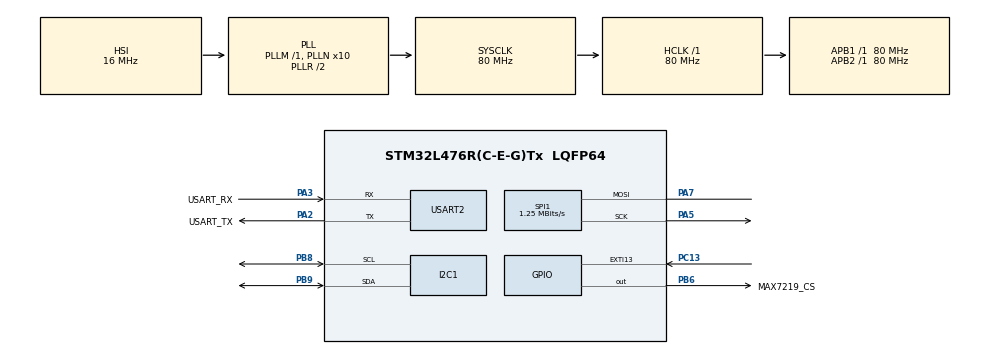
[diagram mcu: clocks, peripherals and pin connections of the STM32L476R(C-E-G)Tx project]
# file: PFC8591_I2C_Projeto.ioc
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I2C1.Timing=0x10D19CE4
Mcu.Family=STM32L4
Mcu.Name=STM32L476R(C-E-G)Tx
Mcu.Package=LQFP64
NUCLEO-L476RG.BUTTON=1
NUCLEO-L476RG.LD2=true
NVIC.EXTI15_10_IRQn=true\:0\:0\:false\:false\:true\:false\:true\:true
NVIC.I2C1_ER_IRQn=true\:0\:0\:false\:false\:true\:true\:true\:true
NVIC.I2C1_EV_IRQn=true\:0\:0\:false\:false\:true\:true\:true\:true
NVIC.PriorityGroup=NVIC_PRIORITYGROUP_4
NVIC.SPI1_IRQn=true\:1\:0\:true\:false\:true\:true\:true\:true
NVIC.USART2_IRQn=true\:0\:0\:false\:false\:true\:true\:true\:true
PA13\ (JTMS-SWDIO).GPIO_Label=TMS
PA13\ (JTMS-SWDIO).Mode=Serial_Wire
PA13\ (JTMS-SWDIO).Signal=SYS_JTMS-SWDIO
PA14\ (JTCK-SWCLK).GPIO_Label=TCK
PA14\ (JTCK-SWCLK).Mode=Serial_Wire
PA14\ (JTCK-SWCLK).Signal=SYS_JTCK-SWCLK
PA2.GPIO_Label=USART_TX
PA2.GPIO_Mode=GPIO_MODE_AF_PP
PA2.GPIO_PuPd=GPIO_NOPULL
PA2.GPIO_Speed=GPIO_SPEED_FREQ_VERY_HIGH
PA2.Mode=Asynchronous
PA2.Signal=USART2_TX
PA3.GPIO_Label=USART_RX
PA3.GPIO_Mode=GPIO_MODE_AF_PP
PA3.GPIO_PuPd=GPIO_NOPULL
PA3.GPIO_Speed=GPIO_SPEED_FREQ_VERY_HIGH
PA3.Mode=Asynchronous
PA3.Signal=USART2_RX
PA5.Mode=Simplex_Bidirectional_Master
PA5.Signal=SPI1_SCK
PA7.Mode=Simplex_Bidirectional_Master
PA7.Signal=SPI1_MOSI
PB3\ (JTDO-TRACESWO).GPIO_Label=SWO
PB3\ (JTDO-TRACESWO).Signal=SYS_JTDO-SWO
PB6.GPIO_Label=MAX7219_CS
PB6.GPIO_Speed=GPIO_SPEED_FREQ_HIGH
PB6.PinState=GPIO_PIN_SET
PB6.Signal=GPIO_Output
PB8.Mode=I2C
PB8.Signal=I2C1_SCL
PB9.Mode=I2C
PB9.Signal=I2C1_SDA
PC13.Signal=GPXTI13
PC14-OSC32_IN\ (PC14).Signal=RCC_OSC32_IN
PC15-OSC32_OUT\ (PC15).Signal=RCC_OSC32_OUT
PH0-OSC_IN\ (PH0).Signal=RCC_OSC_IN
PH1-OSC_OUT\ (PH1).Signal=RCC_OSC_OUT
ProjectManager.HeapSize=0x200
ProjectManager.StackSize=0x400
ProjectManager.TargetToolchain=STM32CubeIDE
RCC.ADCFreq_Value=64000000
RCC.AHBFreq_Value=80000000
RCC.APB1Freq_Value=80000000
RCC.APB1TimFreq_Value=80000000
RCC.APB2Freq_Value=80000000
RCC.APB2TimFreq_Value=80000000
RCC.CortexFreq_Value=80000000
RCC.HCLKFreq_Value=80000000
RCC.HSE_VALUE=8000000
RCC.HSI_VALUE=16000000
RCC.LSE_VALUE=32768
RCC.MSI_VALUE=4000000
RCC.PLLN=10
RCC.PLLSourceVirtual=RCC_PLLSOURCE_HSI
RCC.PREFETCH_ENABLE=1
RCC.SYSCLKFreq_VALUE=80000000
RCC.SYSCLKSource=RCC_SYSCLKSOURCE_PLLCLK
RCC.USBFreq_Value=64000000
RCC.VCOOutputFreq_Value=160000000
SPI1.BaudRatePrescaler=SPI_BAUDRATEPRESCALER_64
SPI1.CalculateBaudRate=1.25 MBits/s
SPI1.DataSize=SPI_DATASIZE_8BIT
SPI1.Direction=SPI_DIRECTION_1LINE
SPI1.Mode=SPI_MODE_MASTER
SPI1.NSSPMode=SPI_NSS_PULSE_DISABLE
SPI1.VirtualType=VM_MASTER
USART2.VirtualMode-Asynchronous=VM_ASYNC
VP_NUCLEO-L476RG_VS_BSP_COMMON.Mode=COMMON
board=NUCLEO-L476RG

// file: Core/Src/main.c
/* USER CODE BEGIN Header */
/**
  * @file           : main.c
  * @brief          : Main program body
  */
/* USER CODE END Header */
#include "main.h"

/* USER CODE BEGIN Includes */
#include <stdint.h>
#include <stdio.h>
#include <string.h>
/* USER CODE END Includes */

/* USER CODE BEGIN PTD */
typedef enum {
    I2C_IDLE,
    I2C_WAIT_TX,
    I2C_WAIT_RX,
    I2C_DONE,
    I2C_ERROR
} I2C_State;

typedef enum {
    I2C_OP_ADC,
    I2C_OP_DAC
} I2C_Operation;

typedef enum {
    SPI_IDLE,
    SPI_BUSY,
    SPI_ERROR
} SPI_State;

typedef enum {
    SPI_OP_NONE,
    SPI_OP_BOOT,
    SPI_OP_FRAME
} SPI_Operation;

typedef enum {
    DISPLAY_NONE,
    DISPLAY_L,
    DISPLAY_T,
    DISPLAY_V
} Display_Sensor;

typedef enum {
    DISPLAY_LETTER,
    DISPLAY_SIGN
} Display_Phase;

typedef enum {
    CMD_INVALID,
    CMD_READ_LDR,
    CMD_READ_TEMP,
    CMD_READ_VOLT,
    CMD_SET_DAC,
    CMD_LED_TEST,
    CMD_LED_CLEAR,
    CMD_HELP
} Command_Type;
/* USER CODE END PTD */

/* USER CODE BEGIN PD */
#define PCF8591_ADDR_HAL       (0x48U << 1)
#define UART_COMMAND_LEN       50U
#define DISPLAY_INTERVAL_MS    500U
#define SPI_TIMEOUT_MS         100U
#define MAX7219_BOOT_COMMANDS  14U
/* USER CODE END PD */

I2C_HandleTypeDef hi2c1;

SPI_HandleTypeDef hspi1;

UART_HandleTypeDef huart2;

/* USER CODE BEGIN PV */
static volatile I2C_State i2c_state = I2C_IDLE;
static volatile I2C_Operation i2c_operation = I2C_OP_ADC;
static volatile uint32_t i2c_error_code = 0;
static volatile uint32_t i2c_start_status = 0;
static uint8_t i2c_control = 0;
static uint8_t adc_buffer[2] = {0};
static uint8_t dac_buffer[2] = {0};
static uint8_t current_channel = 0;
static uint8_t dac_value = 128;
static uint8_t LDR = 0, Temp = 0, Pot = 0;

static uint8_t uart_rx_char = 0;
static char command_buffer[UART_COMMAND_LEN] = {0};
static volatile uint8_t command_index = 0;
static volatile uint8_t command_ready = 0;

static volatile SPI_State spi_state = SPI_IDLE;
static volatile SPI_Operation spi_operation = SPI_OP_NONE;
static volatile uint8_t spi_boot_index = 0;
static volatile uint8_t spi_frame_index = 0;
static volatile uint32_t spi_error_code = 0;
static uint32_t spi_start_tick = 0;
static uint8_t spi_error_reported = 0;
static uint8_t spi_frame_running = 0;
static uint8_t spi_frame_pending = 0;
static uint8_t spi_tx_buffer[2] = {0};
static uint8_t spi_frame_active[8] = {0};
static uint8_t spi_frame_requested[8] = {0};

static Display_Sensor display_sensor = DISPLAY_NONE;
static Display_Phase display_phase = DISPLAY_LETTER;
static uint8_t display_positive = 0;
static uint32_t display_last_tick = 0;

static const uint8_t GLYPH_L[8] = {
    0x60, 0x60, 0x60, 0x60, 0x60, 0x60, 0x7E, 0x00
};
static const uint8_t GLYPH_T[8] = {
    0x7E, 0x18, 0x18, 0x18, 0x18, 0x18, 0x18, 0x00
};
static const uint8_t GLYPH_V[8] = {
    0x66, 0x66, 0x66, 0x66, 0x66, 0x3C, 0x18, 0x00
};
static const uint8_t GLYPH_PLUS[8] = {
    0x00, 0x18, 0x18, 0x7E, 0x7E, 0x18, 0x18, 0x00
};
static const uint8_t GLYPH_MINUS[8] = {
    0x00, 0x00, 0x00, 0x7E, 0x7E, 0x00, 0x00, 0x00
};
static const uint8_t GLYPH_TEST[8] = {
    0xFF, 0xFF, 0xFF, 0xFF, 0xFF, 0xFF, 0xFF, 0xFF
};
static const uint8_t GLYPH_CLEAR[8] = {
    0, 0, 0, 0, 0, 0, 0, 0
};
/* USER CODE END PV */

void SystemClock_Config(void);
static void MX_GPIO_Init(void);
static void MX_I2C1_Init(void);
static void MX_USART2_UART_Init(void);
static void MX_SPI1_Init(void);
/* USER CODE BEGIN PFP */
static void UART_Send(const char *message);
static void UART_Start_Receive(void);
static Command_Type Parse_Command(const char *command);
static void Process_Command(const char *command);
static uint8_t Parse_DAC_Value(const char *text, uint8_t *value);
static void UART_Process(void);

static void PCF8591_StartRead(uint8_t channel);
static void PCF8591_StartWriteDAC(uint8_t value);
static void I2C_Process(void);

static void SPI_StartWord(uint8_t address, uint8_t value, SPI_Operation operation);
static void SPI_Process(void);
static void SPI_GetBootWord(uint8_t index, uint8_t *address, uint8_t *value);
static void SPI_QueueFrame(const uint8_t frame[8]);
static void Display_Publish(void);
static void Display_SetMeasurement(Display_Sensor sensor, uint8_t value);
static void Display_Process(void);
/* USER CODE END PFP */

/* USER CODE BEGIN 0 */
static void UART_Send(const char *message)
{

    (void)HAL_UART_Transmit(&huart2, (uint8_t *)message,
                            (uint16_t)strlen(message), 100U);
}

static void UART_Start_Receive(void)
{
    if (HAL_UART_Receive_IT(&huart2, &uart_rx_char, 1U) != HAL_OK) {
        Error_Handler();
    }
}

static Command_Type Parse_Command(const char *command)
{

    if (strcmp(command, "Read_AIN0") == 0 || strcmp(command, "LDR") == 0) {
        return CMD_READ_LDR;
    }
    if (strcmp(command, "Read_AIN1") == 0 || strcmp(command, "Temp") == 0) {
        return CMD_READ_TEMP;
    }
    if (strcmp(command, "Read_AIN3") == 0 || strcmp(command, "Volt") == 0) {
        return CMD_READ_VOLT;
    }
    if (strncmp(command, "Set_DAC_", 8U) == 0) {
        return CMD_SET_DAC;
    }
    if (strcmp(command, "LED_TEST") == 0) {
        return CMD_LED_TEST;
    }
    if (strcmp(command, "LED_CLEAR") == 0) {
        return CMD_LED_CLEAR;
    }
    if (strcmp(command, "HELP") == 0) {
        return CMD_HELP;
    }
    return CMD_INVALID;
}

static uint8_t Parse_DAC_Value(const char *text, uint8_t *value)
{
    uint16_t number = 0;

    if (*text == '\0') {
        return 0U;
    }

    while (*text != '\0') {
        if (*text < '0' || *text > '9') {
            return 0U;
        }
        number = (uint16_t)(number * 10U + (uint16_t)(*text - '0'));
        if (number > 255U) {
            return 0U;
        }
        ++text;
    }
    *value = (uint8_t)number;
    return 1U;
}

static void Process_Command(const char *command)
{
    uint8_t value = 0;

    switch (Parse_Command(command)) {
        case CMD_READ_LDR:
            PCF8591_StartRead(0U);
            break;

        case CMD_READ_TEMP:
            PCF8591_StartRead(1U);
            break;

        case CMD_READ_VOLT:
            PCF8591_StartRead(3U);
            break;

        case CMD_SET_DAC:
            if (Parse_DAC_Value(&command[8], &value) != 0U) {
                PCF8591_StartWriteDAC(value);
            } else {
                UART_Send("Valor DAC invalido! Use 0 a 255.\r\n");
            }
            break;

        case CMD_LED_TEST:
            display_sensor = DISPLAY_NONE;
            SPI_QueueFrame(GLYPH_TEST);
            UART_Send("LED_TEST: todos os LEDs ligados.\r\n");
            break;

        case CMD_LED_CLEAR:
            display_sensor = DISPLAY_NONE;
            SPI_QueueFrame(GLYPH_CLEAR);
            UART_Send("LED_CLEAR: matriz apagada.\r\n");
            break;

        case CMD_HELP:
            UART_Send("Read_AIN0 | Read_AIN1 | Read_AIN3 | Set_DAC_0..255\r\n"
                      "LDR | Temp | Volt | LED_TEST | LED_CLEAR | HELP\r\n");
            break;

        case CMD_INVALID:
        default:
            UART_Send("Comando invalido! Digite HELP.\r\n");
            break;
    }
}

void HAL_UART_RxCpltCallback(UART_HandleTypeDef *huart)
{
    if (huart->Instance != USART2) {
        return;
    }

    if (command_ready == 0U) {
        switch (uart_rx_char) {
            case '\r':
            case '\n':
                if (command_index > 0U) {
                    command_buffer[command_index] = '\0';
                    command_ready = 1U;
                }
                break;

            default:
                if (command_index < (UART_COMMAND_LEN - 1U)) {
                    command_buffer[command_index] = (char)uart_rx_char;
                    ++command_index;
                }
                break;
        }
    }

    (void)HAL_UART_Receive_IT(&huart2, &uart_rx_char, 1U);
}

static void UART_Process(void)
{
    char command[UART_COMMAND_LEN];

    if (command_ready == 0U || i2c_state != I2C_IDLE) {
        return;
    }

    __disable_irq();
    memcpy(command, command_buffer, UART_COMMAND_LEN);
    command_ready = 0U;
    command_index = 0U;
    __enable_irq();

    Process_Command(command);
}

static void PCF8591_StartRead(uint8_t channel)
{
    HAL_StatusTypeDef status;

    switch (channel) {
        case 0U:
        case 1U:
        case 3U:
            break;
        default:
            return;
    }

    if (i2c_state != I2C_IDLE) {
        return;
    }

    current_channel = channel;
    i2c_control = channel;
    i2c_operation = I2C_OP_ADC;
    i2c_error_code = 0U;
    i2c_start_status = 0U;
    i2c_state = I2C_WAIT_TX;

    status = HAL_I2C_Master_Transmit_IT(&hi2c1, PCF8591_ADDR_HAL,
                                         &i2c_control, 1U);
    if (status != HAL_OK) {
        i2c_start_status = (uint32_t)status;
        i2c_state = I2C_ERROR;
    }
}

static void PCF8591_StartWriteDAC(uint8_t value)
{
    HAL_StatusTypeDef status;

    if (i2c_state != I2C_IDLE) {
        return;
    }

    dac_value = value;
    dac_buffer[0] = 0x40U;
    dac_buffer[1] = value;
    i2c_operation = I2C_OP_DAC;
    i2c_error_code = 0U;
    i2c_start_status = 0U;
    i2c_state = I2C_WAIT_TX;

    status = HAL_I2C_Master_Transmit_IT(&hi2c1, PCF8591_ADDR_HAL,
                                         dac_buffer, 2U);
    if (status != HAL_OK) {
        i2c_start_status = (uint32_t)status;
        i2c_state = I2C_ERROR;
    }
}

void HAL_I2C_MasterTxCpltCallback(I2C_HandleTypeDef *hi2c)
{
    HAL_StatusTypeDef status;

    if (hi2c->Instance != I2C1 || i2c_state != I2C_WAIT_TX) {
        return;
    }

    switch (i2c_operation) {
        case I2C_OP_ADC:
            i2c_state = I2C_WAIT_RX;

            status = HAL_I2C_Master_Receive_IT(&hi2c1, PCF8591_ADDR_HAL,
                                                adc_buffer, 2U);
            if (status != HAL_OK) {
                i2c_start_status = (uint32_t)status;
                i2c_state = I2C_ERROR;
            }
            break;

        case I2C_OP_DAC:
            i2c_state = I2C_DONE;
            break;

        default:
            i2c_state = I2C_ERROR;
            break;
    }
}

void HAL_I2C_MasterRxCpltCallback(I2C_HandleTypeDef *hi2c)
{
    if (hi2c->Instance == I2C1 && i2c_state == I2C_WAIT_RX) {
        i2c_state = I2C_DONE;
    }
}

void HAL_I2C_ErrorCallback(I2C_HandleTypeDef *hi2c)
{
    if (hi2c->Instance == I2C1) {
        i2c_error_code = HAL_I2C_GetError(hi2c);
        i2c_state = I2C_ERROR;
    }
}

static void I2C_Process(void)
{
    char message[80];

    switch (i2c_state) {
        case I2C_DONE:
            switch (i2c_operation) {
                case I2C_OP_ADC:
                    switch (current_channel) {
                        case 0U:
                            LDR = adc_buffer[1];
                            snprintf(message, sizeof(message),
                                     "AIN0 (LDR): %u\r\n", (unsigned)LDR);
                            Display_SetMeasurement(DISPLAY_L, LDR);
                            break;

                        case 1U:
                            Temp = adc_buffer[1];
                            snprintf(message, sizeof(message),
                                     "AIN1 (Temp): %u\r\n", (unsigned)Temp);
                            Display_SetMeasurement(DISPLAY_T, Temp);
                            break;

                        case 3U:
                            Pot = adc_buffer[1];
                            snprintf(message, sizeof(message),
                                     "AIN3 (Pot): %u\r\n", (unsigned)Pot);
                            Display_SetMeasurement(DISPLAY_V, Pot);
                            break;

                        default:
                            snprintf(message, sizeof(message),
                                     "Canal I2C invalido.\r\n");
                            break;
                    }
                    break;

                case I2C_OP_DAC:
                    snprintf(message, sizeof(message),
                             "Valor do DAC: %u\r\n", (unsigned)dac_value);
                    break;

                default:
                    snprintf(message, sizeof(message),
                             "Operacao I2C invalida.\r\n");
                    break;
            }
            i2c_state = I2C_IDLE;
            UART_Send(message);
            break;

        case I2C_ERROR:
            snprintf(message, sizeof(message),
                     "Erro I2C: status=%lu, erro=0x%lX\r\n",
                     (unsigned long)i2c_start_status,
                     (unsigned long)i2c_error_code);
            i2c_state = I2C_IDLE;
            UART_Send(message);
            break;

        case I2C_IDLE:
        case I2C_WAIT_TX:
        case I2C_WAIT_RX:
        default:
            break;
    }
}

static void SPI_QueueFrame(const uint8_t frame[8])
{
    memcpy(spi_frame_requested, frame, 8U);
    spi_frame_pending = 1U;
}

static void Display_Publish(void)
{
    const uint8_t *glyph = GLYPH_CLEAR;

    switch (display_phase) {
        case DISPLAY_LETTER:
            switch (display_sensor) {
                case DISPLAY_L:
                    glyph = GLYPH_L;
                    break;
                case DISPLAY_T:
                    glyph = GLYPH_T;
                    break;
                case DISPLAY_V:
                    glyph = GLYPH_V;
                    break;
                case DISPLAY_NONE:
                default:
                    glyph = GLYPH_CLEAR;
                    break;
            }
            break;

        case DISPLAY_SIGN:
            switch (display_positive) {
                case 0U:
                    glyph = GLYPH_MINUS;
                    break;
                case 1U:
                default:
                    glyph = GLYPH_PLUS;
                    break;
            }
            break;

        default:
            glyph = GLYPH_CLEAR;
            break;
    }
    SPI_QueueFrame(glyph);
}

static void Display_SetMeasurement(Display_Sensor sensor, uint8_t value)
{
    display_sensor = sensor;
    display_positive = (value >= 128U) ? 1U : 0U;
    display_phase = DISPLAY_LETTER;
    display_last_tick = HAL_GetTick();
    Display_Publish();
}

static void Display_Process(void)
{
    if (display_sensor == DISPLAY_NONE) {
        return;
    }

    if ((uint32_t)(HAL_GetTick() - display_last_tick) < DISPLAY_INTERVAL_MS) {
        return;
    }

    display_last_tick = HAL_GetTick();

    switch (display_phase) {
        case DISPLAY_LETTER:
            display_phase = DISPLAY_SIGN;
            break;
        case DISPLAY_SIGN:
        default:
            display_phase = DISPLAY_LETTER;
            break;
    }
    Display_Publish();
}

static void SPI_StartWord(uint8_t address, uint8_t value,
                          SPI_Operation operation)
{
    HAL_StatusTypeDef status;

    if (spi_state != SPI_IDLE) {
        return;
    }

    spi_tx_buffer[0] = address;
    spi_tx_buffer[1] = value;
    spi_operation = operation;
    spi_state = SPI_BUSY;
    spi_start_tick = HAL_GetTick();

    HAL_GPIO_WritePin(MAX7219_CS_GPIO_Port, MAX7219_CS_Pin, GPIO_PIN_RESET);
    status = HAL_SPI_Transmit_IT(&hspi1, spi_tx_buffer, 2U);

    if (status != HAL_OK) {
        HAL_GPIO_WritePin(MAX7219_CS_GPIO_Port, MAX7219_CS_Pin, GPIO_PIN_SET);
        spi_error_code = (uint32_t)status;
        spi_state = SPI_ERROR;
    }
}

static void SPI_GetBootWord(uint8_t index, uint8_t *address, uint8_t *value)
{
    switch (index) {
        case 0U:
            *address = 0x0CU; *value = 0x00U;
            break;
        case 1U:
            *address = 0x0FU; *value = 0x00U;
            break;
        case 2U:
            *address = 0x09U; *value = 0x00U;
            break;
        case 3U:
            *address = 0x0BU; *value = 0x07U;
            break;
        case 4U:
            *address = 0x0AU; *value = 0x02U;
            break;
        case 13U:
            *address = 0x0CU; *value = 0x01U;
            break;
        default:
            *address = (uint8_t)(index - 4U);
            *value = 0x00U;
            break;
    }
}

void HAL_SPI_TxCpltCallback(SPI_HandleTypeDef *hspi)
{
    if (hspi->Instance != SPI1 || spi_state != SPI_BUSY) {
        return;
    }

    HAL_GPIO_WritePin(MAX7219_CS_GPIO_Port, MAX7219_CS_Pin, GPIO_PIN_SET);

    switch (spi_operation) {
        case SPI_OP_BOOT:
            ++spi_boot_index;
            break;
        case SPI_OP_FRAME:
            ++spi_frame_index;
            break;
        case SPI_OP_NONE:
        default:
            break;
    }
    spi_operation = SPI_OP_NONE;
    spi_state = SPI_IDLE;
}

void HAL_SPI_ErrorCallback(SPI_HandleTypeDef *hspi)
{
    if (hspi->Instance == SPI1) {
        HAL_GPIO_WritePin(MAX7219_CS_GPIO_Port, MAX7219_CS_Pin, GPIO_PIN_SET);
        spi_error_code = HAL_SPI_GetError(hspi);
        spi_state = SPI_ERROR;
    }
}

static void SPI_Process(void)
{
    uint8_t address = 0, value = 0;
    char message[64];

    switch (spi_state) {
        case SPI_BUSY:
            if ((uint32_t)(HAL_GetTick() - spi_start_tick) > SPI_TIMEOUT_MS) {

                (void)HAL_SPI_Abort(&hspi1);
                HAL_GPIO_WritePin(MAX7219_CS_GPIO_Port,
                                  MAX7219_CS_Pin, GPIO_PIN_SET);
                spi_error_code = 0xFFFFFFFFUL;
                spi_state = SPI_ERROR;
            }
            return;

        case SPI_ERROR:
            if (spi_error_reported == 0U) {
                snprintf(message, sizeof(message),
                         "Erro SPI1: codigo=0x%lX\r\n",
                         (unsigned long)spi_error_code);
                UART_Send(message);
                spi_error_reported = 1U;
            }
            return;

        case SPI_IDLE:
        default:
            break;
    }

    if (spi_boot_index < MAX7219_BOOT_COMMANDS) {
        SPI_GetBootWord(spi_boot_index, &address, &value);
        SPI_StartWord(address, value, SPI_OP_BOOT);
        return;
    }

    if (spi_frame_running != 0U) {
        if (spi_frame_index < 8U) {
            SPI_StartWord((uint8_t)(spi_frame_index + 1U),
                          spi_frame_active[spi_frame_index], SPI_OP_FRAME);
            return;
        }
        spi_frame_running = 0U;
    }

    if (spi_frame_pending != 0U) {
        memcpy(spi_frame_active, spi_frame_requested, 8U);
        spi_frame_pending = 0U;
        spi_frame_index = 0U;
        spi_frame_running = 1U;
    }
}
/* USER CODE END 0 */

int main(void)
{

  /* MCU Configuration--------------------------------------------------------*/

  /* Reset of all peripherals, Initializes the Flash interface and the Systick. */
  HAL_Init();

  /* Configure the system clock */
  SystemClock_Config();

  /* Initialize all configured peripherals */
  MX_GPIO_Init();
  MX_I2C1_Init();
  MX_USART2_UART_Init();
  MX_SPI1_Init();
  /* USER CODE BEGIN 2 */
  UART_Start_Receive();
  SPI_QueueFrame(GLYPH_CLEAR);
  UART_Send("NUCLEO pronta. Digite HELP.\r\n");
/* USER CODE END 2 */
/* Infinite loop */
  while (1)
  {

    /* USER CODE BEGIN 3 */
    I2C_Process();
    UART_Process();
    Display_Process();
    SPI_Process();
  }
/* USER CODE END 3 */
}

void SystemClock_Config(void)
{
  RCC_OscInitTypeDef RCC_OscInitStruct = {0};
  RCC_ClkInitTypeDef RCC_ClkInitStruct = {0};

  /** Configure the main internal regulator output voltage
  */
  if (HAL_PWREx_ControlVoltageScaling(PWR_REGULATOR_VOLTAGE_SCALE1) != HAL_OK)
  {
    Error_Handler();
  }

  /** Initializes the RCC Oscillators according to the specified parameters
  * in the RCC_OscInitTypeDef structure.
  */
  RCC_OscInitStruct.OscillatorType = RCC_OSCILLATORTYPE_HSI;
  RCC_OscInitStruct.HSIState = RCC_HSI_ON;
  RCC_OscInitStruct.HSICalibrationValue = RCC_HSICALIBRATION_DEFAULT;
  RCC_OscInitStruct.PLL.PLLState = RCC_PLL_ON;
  RCC_OscInitStruct.PLL.PLLSource = RCC_PLLSOURCE_HSI;
  RCC_OscInitStruct.PLL.PLLM = 1;
  RCC_OscInitStruct.PLL.PLLN = 10;
  RCC_OscInitStruct.PLL.PLLP = RCC_PLLP_DIV7;
  RCC_OscInitStruct.PLL.PLLQ = RCC_PLLQ_DIV2;
  RCC_OscInitStruct.PLL.PLLR = RCC_PLLR_DIV2;
  if (HAL_RCC_OscConfig(&RCC_OscInitStruct) != HAL_OK)
  {
    Error_Handler();
  }

  /** Initializes the CPU, AHB and APB buses clocks
  */
  RCC_ClkInitStruct.ClockType = RCC_CLOCKTYPE_HCLK|RCC_CLOCKTYPE_SYSCLK
                              |RCC_CLOCKTYPE_PCLK1|RCC_CLOCKTYPE_PCLK2;
  RCC_ClkInitStruct.SYSCLKSource = RCC_SYSCLKSOURCE_PLLCLK;
  RCC_ClkInitStruct.AHBCLKDivider = RCC_SYSCLK_DIV1;
  RCC_ClkInitStruct.APB1CLKDivider = RCC_HCLK_DIV1;
  RCC_ClkInitStruct.APB2CLKDivider = RCC_HCLK_DIV1;

  if (HAL_RCC_ClockConfig(&RCC_ClkInitStruct, FLASH_LATENCY_4) != HAL_OK)
  {
    Error_Handler();
  }
}

static void MX_I2C1_Init(void)
{

  hi2c1.Instance = I2C1;
  hi2c1.Init.Timing = 0x10D19CE4;
  hi2c1.Init.OwnAddress1 = 0;
  hi2c1.Init.AddressingMode = I2C_ADDRESSINGMODE_7BIT;
  hi2c1.Init.DualAddressMode = I2C_DUALADDRESS_DISABLE;
  hi2c1.Init.OwnAddress2 = 0;
  hi2c1.Init.OwnAddress2Masks = I2C_OA2_NOMASK;
  hi2c1.Init.GeneralCallMode = I2C_GENERALCALL_DISABLE;
  hi2c1.Init.NoStretchMode = I2C_NOSTRETCH_DISABLE;
  if (HAL_I2C_Init(&hi2c1) != HAL_OK)
  {
    Error_Handler();
  }

  /** Configure Analogue filter
  */
  if (HAL_I2CEx_ConfigAnalogFilter(&hi2c1, I2C_ANALOGFILTER_ENABLE) != HAL_OK)
  {
    Error_Handler();
  }

  /** Configure Digital filter
  */
  if (HAL_I2CEx_ConfigDigitalFilter(&hi2c1, 0) != HAL_OK)
  {
    Error_Handler();
  }

}

static void MX_SPI1_Init(void)
{

  /* SPI1 parameter configuration*/
  hspi1.Instance = SPI1;
  hspi1.Init.Mode = SPI_MODE_MASTER;
  hspi1.Init.Direction = SPI_DIRECTION_1LINE;
  hspi1.Init.DataSize = SPI_DATASIZE_8BIT;
  hspi1.Init.CLKPolarity = SPI_POLARITY_LOW;
  hspi1.Init.CLKPhase = SPI_PHASE_1EDGE;
  hspi1.Init.NSS = SPI_NSS_SOFT;
  hspi1.Init.BaudRatePrescaler = SPI_BAUDRATEPRESCALER_64;
  hspi1.Init.FirstBit = SPI_FIRSTBIT_MSB;
  hspi1.Init.TIMode = SPI_TIMODE_DISABLE;
  hspi1.Init.CRCCalculation = SPI_CRCCALCULATION_DISABLE;
  hspi1.Init.CRCPolynomial = 7;
  hspi1.Init.CRCLength = SPI_CRC_LENGTH_DATASIZE;
  hspi1.Init.NSSPMode = SPI_NSS_PULSE_DISABLE;
  if (HAL_SPI_Init(&hspi1) != HAL_OK)
  {
    Error_Handler();
  }

}

static void MX_USART2_UART_Init(void)
{

  huart2.Instance = USART2;
  huart2.Init.BaudRate = 115200;
  huart2.Init.WordLength = UART_WORDLENGTH_8B;
  huart2.Init.StopBits = UART_STOPBITS_1;
  huart2.Init.Parity = UART_PARITY_NONE;
  huart2.Init.Mode = UART_MODE_TX_RX;
  huart2.Init.HwFlowCtl = UART_HWCONTROL_NONE;
  huart2.Init.OverSampling = UART_OVERSAMPLING_16;
  huart2.Init.OneBitSampling = UART_ONE_BIT_SAMPLE_DISABLE;
  huart2.AdvancedInit.AdvFeatureInit = UART_ADVFEATURE_NO_INIT;
  if (HAL_UART_Init(&huart2) != HAL_OK)
  {
    Error_Handler();
  }

}

static void MX_GPIO_Init(void)
{
  GPIO_InitTypeDef GPIO_InitStruct = {0};

  /* GPIO Ports Clock Enable */
  __HAL_RCC_GPIOC_CLK_ENABLE();
  __HAL_RCC_GPIOH_CLK_ENABLE();
  __HAL_RCC_GPIOA_CLK_ENABLE();
  __HAL_RCC_GPIOB_CLK_ENABLE();

  /*Configure GPIO pin Output Level */
  HAL_GPIO_WritePin(MAX7219_CS_GPIO_Port, MAX7219_CS_Pin, GPIO_PIN_SET);

  /*Configure GPIO pin : MAX7219_CS_Pin */
  GPIO_InitStruct.Pin = MAX7219_CS_Pin;
  GPIO_InitStruct.Mode = GPIO_MODE_OUTPUT_PP;
  GPIO_InitStruct.Pull = GPIO_NOPULL;
  GPIO_InitStruct.Speed = GPIO_SPEED_FREQ_HIGH;
  HAL_GPIO_Init(MAX7219_CS_GPIO_Port, &GPIO_InitStruct);

}

void Error_Handler(void)
{
  __disable_irq();
  while (1)
  {
  }
}
